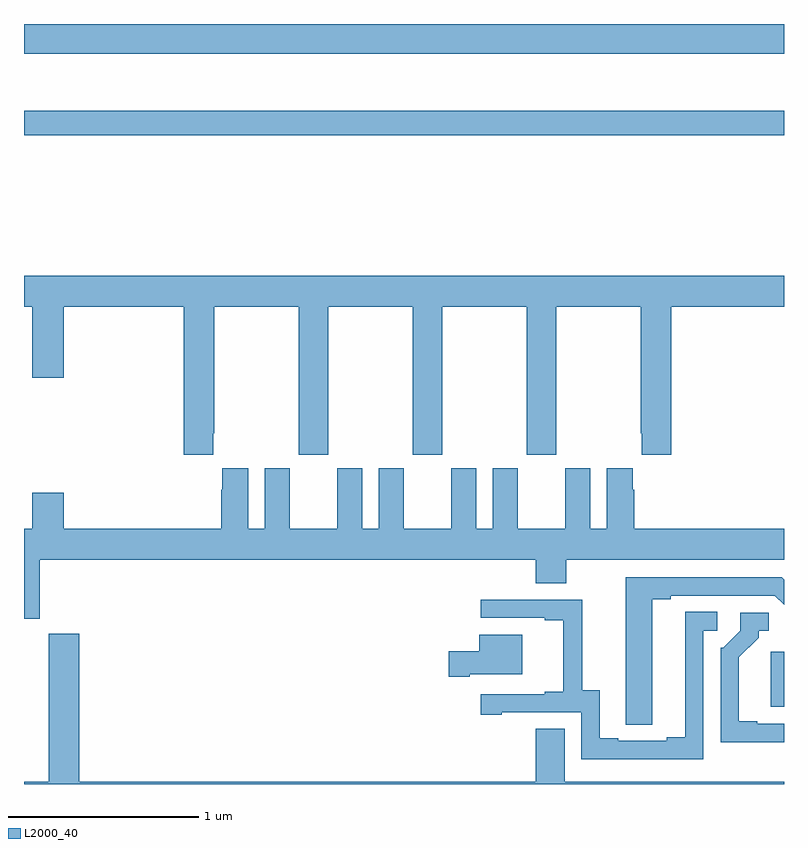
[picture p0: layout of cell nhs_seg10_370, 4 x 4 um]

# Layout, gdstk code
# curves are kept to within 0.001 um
import gdstk
lib = gdstk.Library(unit=1e-6, precision=1e-09)
def R(c, l, rs):  # rectangles x0, y0, x1, y1
    for r in rs: c.add(gdstk.rectangle(r[:2], r[2:], *l))
def P(c, l, *ps):  # polygons
    for p in ps: c.add(gdstk.Polygon(p, *l))
L2000_40 = (2000, 40)

nhs_seg10_370 = lib.new_cell('nhs_seg10_370')
R(nhs_seg10_370, L2000_40, [(132.929,1268.906,133,1269.196), (129,1271.914,133,1272.043), (129,1272.344,133,1272.5)])
P(nhs_seg10_370, L2000_40, [(129.997,1270.345),(130.002,1270.345),(130.002,1271.012),(130.447,1271.012),(130.447,1270.233),(130.602,1270.233),(130.602,1271.012),(131.047,1271.012),(131.047,1270.233),(131.202,1270.233),(131.202,1271.012),(131.647,1271.012),(131.647,1270.233),(131.802,1270.233),(131.802,1271.012),(132.247,1271.012),(132.247,1270.345),(132.251,1270.345),(132.251,1270.233),(132.407,1270.233),(132.407,1271.012),(133,1271.012),(133,1271.176),(129,1271.176),(129,1271.012),(129.044,1271.012),(129.044,1270.638),(129.208,1270.638),(129.208,1271.012),(129.842,1271.012),(129.842,1270.233),(129.997,1270.233)],
  [(129.082,1269.68),(131.693,1269.68),(131.693,1269.556),(131.853,1269.556),(131.853,1269.68),(133,1269.68),(133,1269.844),(132.212,1269.844),(132.212,1270.049),(132.205,1270.049),(132.205,1270.162),(132.068,1270.162),(132.068,1269.844),(131.98,1269.844),(131.98,1270.162),(131.849,1270.162),(131.849,1269.844),(131.599,1269.844),(131.599,1270.162),(131.468,1270.162),(131.468,1269.844),(131.38,1269.844),(131.38,1270.162),(131.249,1270.162),(131.249,1269.844),(130.999,1269.844),(130.999,1270.162),(130.868,1270.162),(130.868,1269.844),(130.78,1269.844),(130.78,1270.162),(130.649,1270.162),(130.649,1269.844),(130.399,1269.844),(130.399,1270.162),(130.268,1270.162),(130.268,1269.844),(130.18,1269.844),(130.18,1270.162),(130.043,1270.162),(130.043,1270.049),(130.037,1270.049),(130.037,1269.844),(129.208,1269.844),(129.208,1270.033),(129.044,1270.033),(129.044,1269.844),(129,1269.844),(129,1269.371),(129.082,1269.371)],
  [(132.307,1269.472),(132.403,1269.472),(132.403,1269.492),(132.951,1269.492),(133,1269.443),(133,1269.575),(132.987,1269.588),(132.167,1269.588),(132.167,1268.92),(132.168,1268.92),(132.168,1268.812),(132.307,1268.812)],
  [(132.576,1269.306),(132.649,1269.306),(132.649,1269.407),(132.479,1269.407),(132.479,1268.747),(132.383,1268.747),(132.383,1268.727),(132.127,1268.727),(132.127,1268.742),(132.031,1268.742),(132.031,1268.993),(131.937,1268.993),(131.937,1269.471),(131.403,1269.471),(131.403,1269.375),(131.741,1269.375),(131.741,1269.363),(131.837,1269.363),(131.837,1268.986),(131.741,1268.986),(131.741,1268.973),(131.403,1268.973),(131.403,1268.865),(131.515,1268.865),(131.515,1268.877),(131.934,1268.877),(131.934,1268.631),(132.576,1268.631)],
  [(132.929,1268.721),(133,1268.721),(133,1268.817),(132.859,1268.817),(132.859,1268.83),(132.763,1268.83),(132.763,1269.166),(132.868,1269.271),(132.868,1269.306),(132.919,1269.306),(132.919,1269.402),(132.771,1269.402),(132.771,1269.306),(132.681,1269.216),(132.666,1269.216),(132.666,1268.72)],
  [(133,1268.512),(131.845,1268.512),(131.845,1268.792),(131.693,1268.792),(131.693,1268.512),(129.29,1268.512),(129.29,1269.292),(129.13,1269.292),(129.13,1268.512),(129,1268.512),(129,1268.5),(133,1268.5)],
  [(131.347,1269.077),(131.623,1269.077),(131.623,1269.286),(131.396,1269.286),(131.396,1269.199),(131.235,1269.199),(131.235,1269.065),(131.347,1269.065)])

lib.write_gds('nhs_seg10_370.gds')
